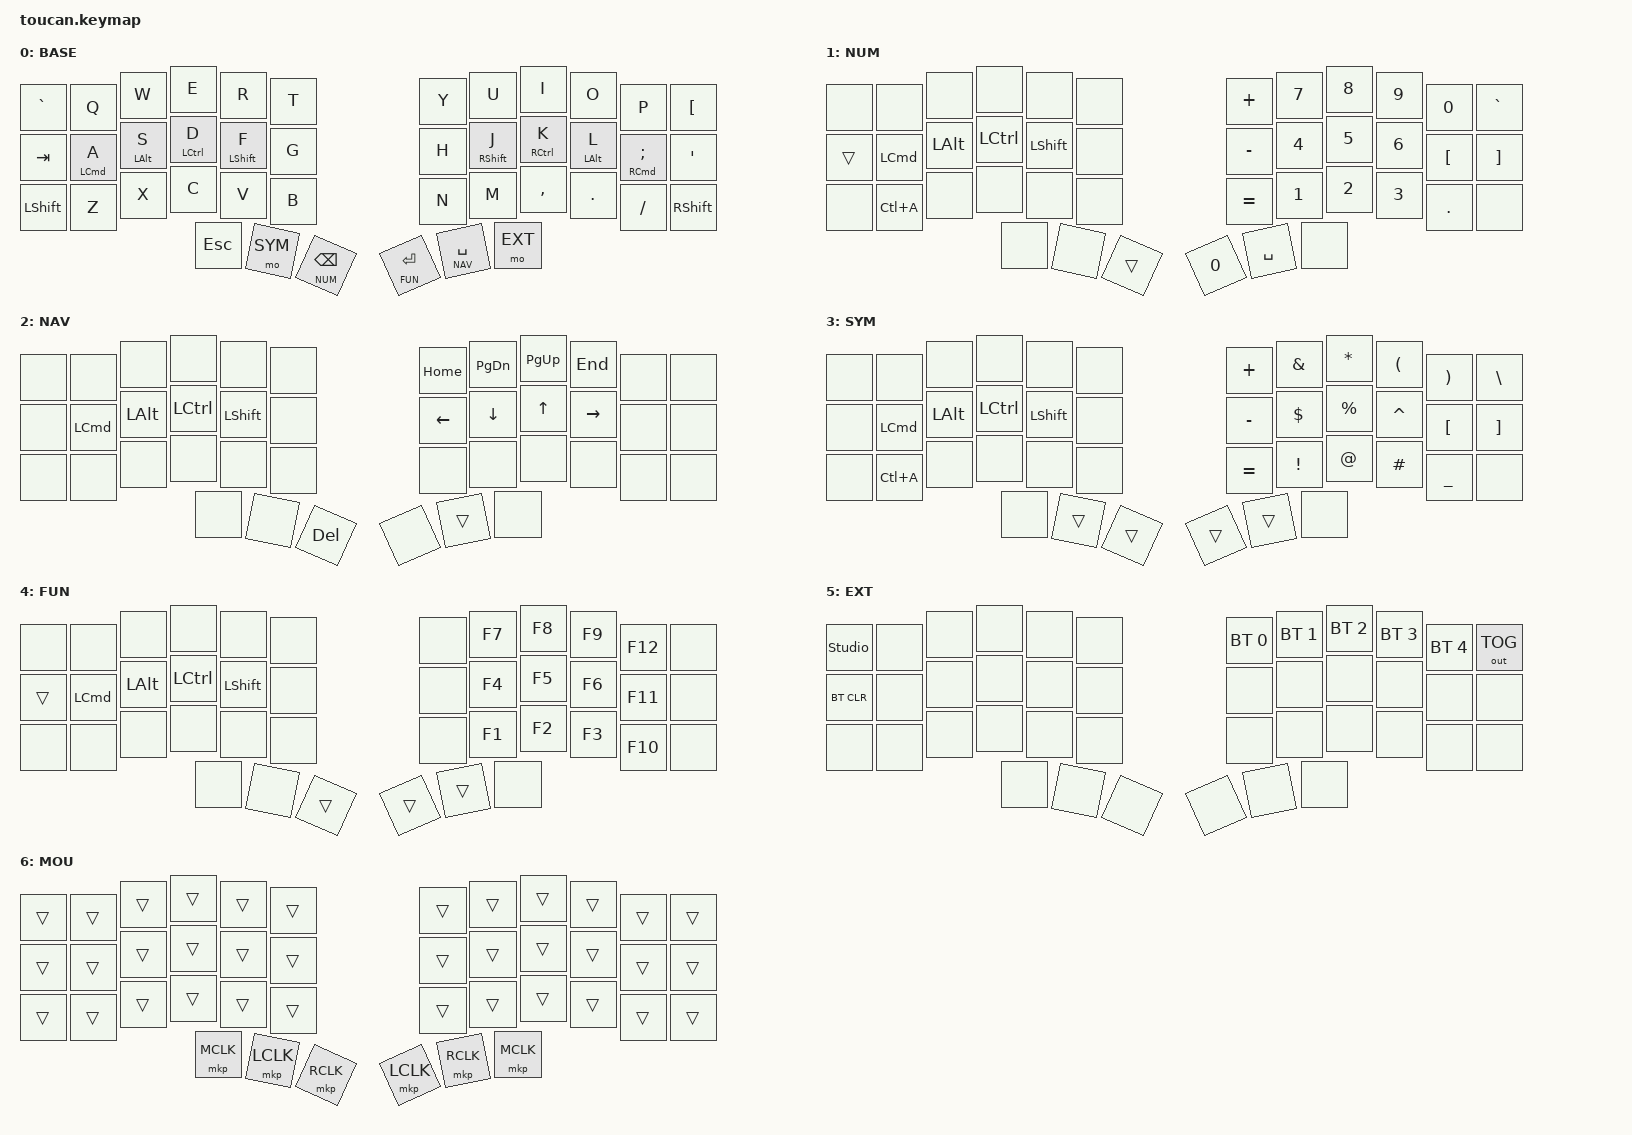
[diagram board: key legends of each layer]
#include <behaviors.dtsi>
#include <dt-bindings/zmk/keys.h>
#include <dt-bindings/zmk/bt.h>
#include <dt-bindings/zmk/outputs.h>
#include <dt-bindings/zmk/pointing.h>

#define KEYS_L 0 1 2 3 4 5 12 13 14 15 16 17 24 25 26 27 28 29 36 37 38  // Left-hand keys.
#define KEYS_R 6 7 8 9 10 11 18 19 20 21 22 23 30 31 32 33 34 35 39 40 41 // Right-hand keys.
#define THUMBS 36 37 38 39 40 41 // Thumb keys.

#define BASE 0
#define NUM  1
#define NAV  2
#define SYM  3
#define FUN  4
#define EXT  5
#define MOUSE  6


/ {
    combos {
        compatible = "zmk,combos";

        CapsWord {
            bindings = <&caps_word>;
            key-positions = <17 18>;
            layers = <0>;
        };
    };
    behaviors {
        mt: mod_tap {
            compatible = "zmk,behavior-hold-tap";
            #binding-cells = <2>;
            flavor = "tap-preferred";
            tapping-term-ms = <200>;
            quick-tap-ms = <200>;
            require-prior-idle-ms = <150>;
            bindings = <&mo>, <&kp>; // hold = layer, tap = keycode
        };

        lt_nav: nav_layer_tap {
            compatible = "zmk,behavior-hold-tap";
            #binding-cells = <2>;
            flavor = "balanced";
            tapping-term-ms = <200>;
            quick-tap-ms = <175>;
            bindings = <&mo>, <&kp>;
        };

        td_ent_fun: td_ent_fun {
            compatible = "zmk,behavior-tap-dance";
            #binding-cells = <0>;
            tapping-term-ms = <110>;
            bindings = <&mo 8>, <&kp ENTER>;
        };

        // Left-hand HRM
        ht_l: left_side_homerow_mod {
            compatible = "zmk,behavior-hold-tap";
            #binding-cells = <2>;
            flavor = "balanced";
            tapping-term-ms = <280>;
            quick-tap-ms = <175>;
            require-prior-idle-ms = <150>;
            bindings = <&kp>, <&kp>;
            hold-trigger-key-positions = <KEYS_R THUMBS>;
            hold-trigger-on-release;
        };

        // Right-hand HRM
        ht_r: right_side_homerow_mod {
            compatible = "zmk,behavior-hold-tap";
            #binding-cells = <2>;
            flavor = "balanced";
            tapping-term-ms = <280>;
            quick-tap-ms = <175>;
            require-prior-idle-ms = <125>;
            bindings = <&kp>, <&kp>;
            hold-trigger-key-positions = <KEYS_L THUMBS>;
            hold-trigger-on-release;
        };
    };

    keymap {
        compatible = "zmk,keymap";

        base {
            display-name = "BASE";
            bindings = <
                &kp GRAVE  &kp Q        &kp W        &kp E         &kp R         &kp T     &kp Y  &kp U         &kp I         &kp O        &kp P           &kp LBKT
                &kp TAB    &ht_l LCMD A &ht_l LALT S &ht_l LCTRL D &ht_l LSHFT F &kp G     &kp H  &ht_r RSHFT J &ht_r RCTRL K &ht_r LALT L &ht_r RCMD SEMI &kp APOS
                &kp LSHFT  &kp Z        &kp X        &kp C         &kp V         &kp B     &kp N  &kp M         &kp COMMA     &kp DOT      &kp FSLH        &kp RSHFT
                                                          &kp ESC &mo SYM &mt NUM BSPC     &mt FUN RET &lt_nav NAV SPACE &mo EXT
            >;
        };

        num {
            display-name = "NUM";
            bindings = <
                &none   &none      &none     &none      &none      &none        &kp PLUS   &kp N7  &kp N8  &kp N9  &kp N0    &kp GRAVE
                &trans  &kp LCMD   &kp LALT  &kp LCTRL  &kp LSHFT  &none        &kp MINUS  &kp N4  &kp N5  &kp N6  &kp LBKT  &kp RBKT
                &none   &kp LC(A)  &none     &none      &none      &none        &kp EQUAL  &kp N1  &kp N2  &kp N3  &kp DOT   &none
                                                      &none  &none &trans       &kp N0     &kp SPACE &none
            >;
        };

        nav {
            display-name = "NAV";
            bindings = <
                &none  &none     &none     &none      &none      &none          &kp HOME   &kp PG_DN  &kp PG_UP  &kp END    &none  &none
                &none  &kp LCMD  &kp LALT  &kp LCTRL  &kp LSHFT  &none          &kp LEFT   &kp DOWN   &kp UP     &kp RIGHT  &none  &none
                &none  &none     &none     &none      &none      &none          &none      &none      &none      &none      &none  &none
                                               &none   &none   &kp DEL          &none  &trans  &none
            >;
        };

        sym {
            display-name = "SYM";
            bindings = <
                &none  &none      &none     &none      &none      &none        &kp PLUS   &kp AMPS  &kp ASTRK  &kp LPAR  &kp RPAR  &kp BSLH
                &none  &kp LCMD   &kp LALT  &kp LCTRL  &kp LSHFT  &none        &kp MINUS  &kp DLLR  &kp PRCNT  &kp CARET &kp LBKT  &kp RBKT
                &none  &kp LC(A)  &none     &none      &none      &none        &kp EQUAL  &kp EXCL  &kp AT     &kp HASH  &kp UNDER &none
                                               &none  &trans     &trans        &trans     &trans    &none
            >;
        };


       fun {
            display-name = "FUN";
            bindings = <
                &none   &none     &none     &none      &none      &none       &none &kp F7  &kp F8  &kp F9  &kp F12  &none
                &trans  &kp LCMD  &kp LALT  &kp LCTRL  &kp LSHFT  &none       &none &kp F4  &kp F5  &kp F6  &kp F11  &none
                &none   &none     &none     &none      &none      &none       &none &kp F1  &kp F2  &kp F3  &kp F10  &none
                                            &none      &none      &trans      &trans &trans &none
            >;
        };


        ext {
            display-name = "EXT";
            bindings = <
                &studio_unlock  &none  &none  &none  &none  &none             &bt BT_SEL 0  &bt BT_SEL 1  &bt BT_SEL 2  &bt BT_SEL 3  &bt BT_SEL 4  &out OUT_TOG
                &bt BT_CLR      &none  &none  &none  &none  &none             &none         &none         &none         &none         &none         &none
                &none           &none  &none  &none  &none  &none             &none         &none         &none        &none        &none        &none
                                              &none  &none  &none             &none         &none         &none
            >;
        };


        mouse {
            display-name = "MOU";
            bindings = <
                &trans &trans &trans &trans &trans &trans           &trans &trans &trans &trans &trans &trans
                &trans &trans &trans &trans &trans &trans           &trans &trans &trans &trans &trans &trans
                &trans &trans &trans &trans &trans &trans           &trans &trans &trans &trans &trans &trans
                            &mkp MCLK &mkp LCLK &mkp RCLK           &mkp LCLK &mkp RCLK &mkp MCLK
            >;
        };

    };
};
